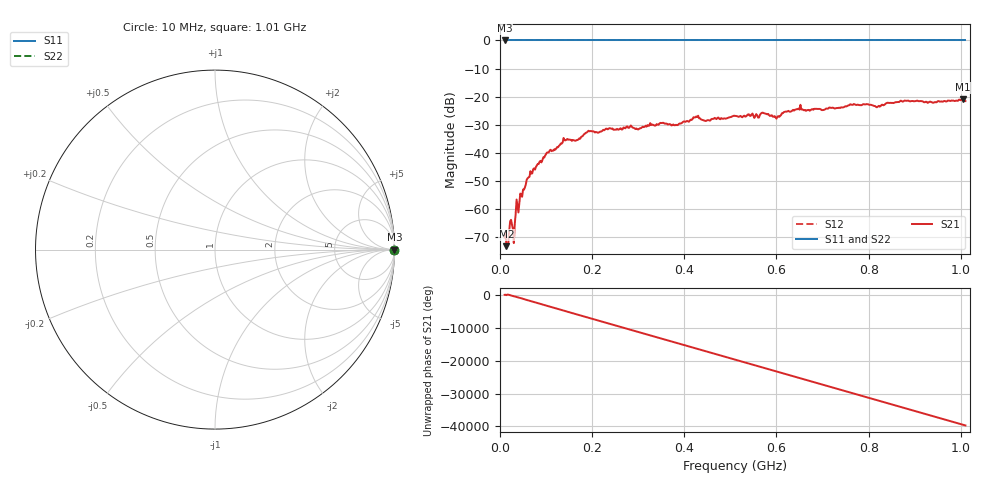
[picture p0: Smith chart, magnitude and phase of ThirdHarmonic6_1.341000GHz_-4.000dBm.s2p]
! 8/16/2025 3:02:33 PM
! C:\ANRITSUVNA\TEMP\TEMP.S2P
! CHANNEL.1
! TR.MEASUREMENT
! RAW.DATA
! RF.CORRECTION.OFF
! AVERAGING.OFF
! IF.BANDWIDTH: 5KHZ
! SWEEPTYPE:  FREQ.SWEEP(Linear)
! Reference Plane Port Info
! PORT:  PORT1  PORT2
! DISTANCE:  0  m  0  m
! TIME:  0  s  0  s
! PHASE.OFFSET:  0  deg.  0  deg.
! LOSS:  0  dB  0  dB
! REF.LOSS:  0  dB  0  dB
! REF.FREQ:  0  Hz  0  Hz
! Power Info
! POWER:  -20  dBm  -20  dBm
! EFF.POWER:  -20  dBm  -20  dBm
! SOURCE.ATTEN:  0  dB  0  dB
! TEST.ATTEN:  0  dB  0  dB
# GHZ S RI R 50.0
! FREQ.GHZ  S11RE  S11IM  S21RE  S21IM  S12RE  S12IM  S22RE  S22IM
!; PortSelection: Port_12
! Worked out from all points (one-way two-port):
!   501 points, 10 MHz to 1.01 GHz, reference 50 ohm
!   highest |S21| = -20.91 dB at 1.004 GHz (marker M1); lowest = -73.3 dB at 14 MHz (marker M2)
!   lowest |S11| = 0.0 dB at 10 MHz (marker M3)
!   |S11| at or under -10 dB: nowhere
!   |S22| runs from 0.0 to 0.0 dB; largest |S21 - S12| = 1.1
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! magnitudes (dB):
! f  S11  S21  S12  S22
! 10 MHz  0.0  -70.2  0.0  0.0
! 14 MHz  0.0  -73.3  0.0  0.0
! 24 MHz  0.0  -63.9  0.0  0.0
! 30 MHz  0.0  -72.2  0.0  0.0
! 40 MHz  0.0  -61.3  0.0  0.0
! 70 MHz  0.0  -47.4  0.0  0.0
! 104 MHz  0.0  -39.9  0.0  0.0
! 142 MHz  0.0  -35.6  0.0  0.0
! 178 MHz  0.0  -34.2  0.0  0.0
! 194 MHz  0.0  -32.3  0.0  0.0
! 344 MHz  0.0  -30.0  0.0  0.0
! 382 MHz  0.0  -30.0  0.0  0.0
! 426 MHz  0.0  -27.1  0.0  0.0
! 450 MHz  0.0  -28.4  0.0  0.0
! 510 MHz  0.0  -26.9  0.0  0.0
! 572 MHz  0.0  -25.9  0.0  0.0
! 602 MHz  0.0  -27.1  0.0  0.0
! 648 MHz  0.0  -24.3  0.0  0.0
! 678 MHz  0.0  -24.5  0.0  0.0
! 844 MHz  0.0  -22.2  0.0  0.0
! 1.004 GHz  0.0  -20.9  0.0  0.0
! 1.01 GHz  0.0  -21.6  0.0  0.0
